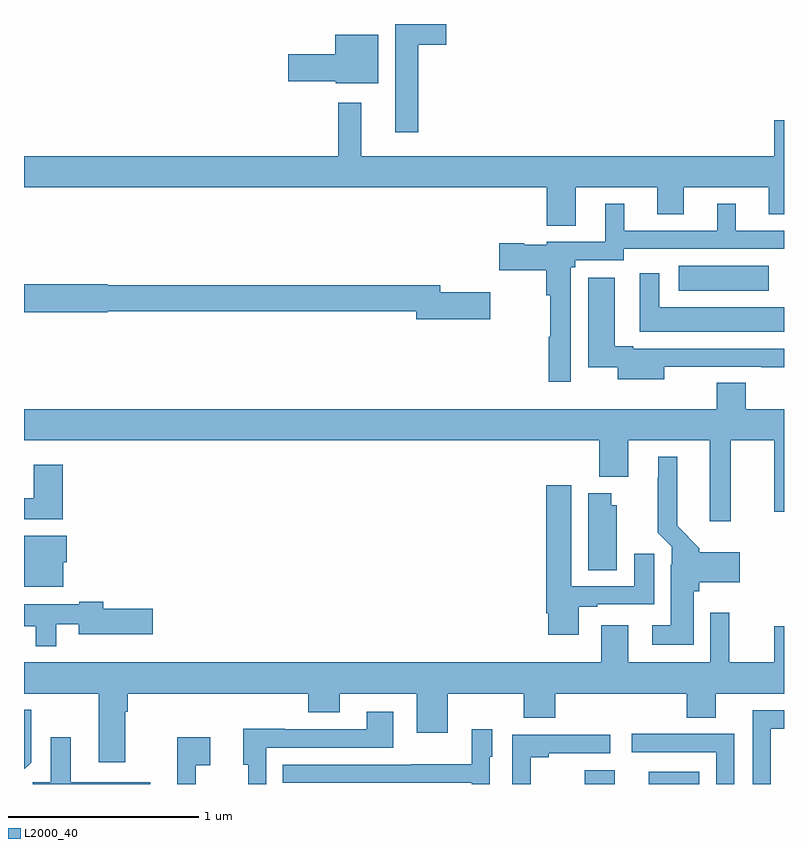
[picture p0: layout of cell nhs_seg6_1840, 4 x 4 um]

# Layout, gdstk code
import gdstk
lib = gdstk.Library(unit=1e-6, precision=1e-09)
def R(c, l, rs):  # rectangles x0, y0, x1, y1
    for r in rs: c.add(gdstk.rectangle(r[:2], r[2:], *l))
def P(c, l, *ps):  # polygons
    for p in ps: c.add(gdstk.Polygon(p, *l))
L2000_40 = (2000, 40)

nhs_seg6_1840 = lib.new_cell('nhs_seg6_1840')
R(nhs_seg6_1840, L2000_40, [(223.952,973.5,224.11,973.573), (224.288,973.5,224.553,973.564), (224.445,976.097,224.92,976.228)])
P(nhs_seg6_1840, L2000_40, [(223.075,977.39),(223.222,977.39),(223.222,977.5),(222.953,977.5),(222.953,976.929),(223.075,976.929)],
  [(222.865,977.443),(222.638,977.443),(222.638,977.342),(222.39,977.342),(222.39,977.2),(222.642,977.2),(222.642,977.189),(222.865,977.189)],
  [(223.903,976.64),(224.333,976.64),(224.333,976.498),(224.473,976.498),(224.473,976.64),(224.921,976.64),(224.921,976.498),(225,976.498),(225,976.993),(224.948,976.993),(224.948,976.804),(222.775,976.804),(222.775,977.086),(222.654,977.086),(222.654,976.804),(221,976.804),(221,976.64),(223.751,976.64),(223.751,976.438),(223.903,976.438)],
  [(223.878,976.221),(223.901,976.221),(223.901,976.257),(224.157,976.257),(224.157,976.317),(225,976.317),(225,976.413),(224.746,976.413),(224.746,976.555),(224.648,976.555),(224.648,976.413),(224.158,976.413),(224.158,976.555),(224.06,976.555),(224.06,976.353),(223.752,976.353),(223.752,976.339),(223.632,976.339),(223.632,976.347),(223.5,976.347),(223.5,976.205),(223.748,976.205),(223.748,976.073),(223.77,976.073),(223.77,975.854),(223.762,975.854),(223.762,975.618),(223.878,975.618)],
  [(225,976.009),(224.344,976.009),(224.344,976.189),(224.24,976.189),(224.24,975.881),(225,975.881)],
  [(224.371,975.696),(224.881,975.696),(224.881,975.694),(225,975.694),(225,975.792),(224.206,975.792),(224.206,975.805),(224.11,975.805),(224.11,976.165),(223.97,976.165),(223.97,975.694),(224.126,975.694),(224.126,975.629),(224.371,975.629)],
  [(223.453,976.088),(223.192,976.088),(223.192,976.124),(221.442,976.124),(221.442,976.13),(221,976.13),(221,975.983),(221.442,975.983),(221.442,975.988),(223.064,975.988),(223.064,975.946),(223.453,975.946)],
  [(224.719,975.308),(224.948,975.308),(224.948,974.934),(225,974.934),(225,975.472),(224.798,975.472),(224.798,975.611),(224.645,975.611),(224.645,975.472),(221,975.472),(221,975.308),(224.027,975.308),(224.027,975.116),(224.179,975.116),(224.179,975.308),(224.609,975.308),(224.609,974.883),(224.719,974.883)],
  [(224.524,974.514),(224.555,974.514),(224.555,974.561),(224.767,974.561),(224.767,974.719),(224.555,974.719),(224.555,974.742),(224.437,974.86),(224.437,975.223),(224.339,975.223),(224.339,975.113),(224.335,975.113),(224.335,974.822),(224.409,974.748),(224.409,974.654),(224.405,974.654),(224.405,974.335),(224.307,974.335),(224.307,974.234),(224.524,974.234)],
  [(221.204,975.181),(221.051,975.181),(221.051,975.004),(221,975.004),(221,974.894),(221.204,974.894)],
  [(223.921,974.433),(224.017,974.433),(224.017,974.445),(224.317,974.445),(224.317,974.713),(224.213,974.713),(224.213,974.541),(223.879,974.541),(223.879,975.073),(223.748,975.073),(223.748,974.398),(223.76,974.398),(223.76,974.286),(223.921,974.286)],
  [(224.119,974.967),(224.092,974.967),(224.092,975.031),(223.97,975.031),(223.97,974.626),(224.119,974.626)],
  [(221.206,974.667),(221.224,974.667),(221.224,974.806),(221,974.806),(221,974.537),(221.206,974.537)],
  [(221.169,974.342),(221.288,974.342),(221.288,974.288),(221.677,974.288),(221.677,974.423),(221.416,974.423),(221.416,974.459),(221.292,974.459),(221.292,974.446),(221,974.446),(221,974.33),(221.061,974.33),(221.061,974.225),(221.169,974.225)],
  [(221.533,973.88),(221.546,973.88),(221.546,973.976),(222.497,973.976),(222.497,973.877),(222.661,973.877),(222.661,973.976),(223.067,973.976),(223.067,973.77),(223.231,973.77),(223.231,973.976),(223.631,973.976),(223.631,973.848),(223.795,973.848),(223.795,973.976),(224.489,973.976),(224.489,973.849),(224.641,973.849),(224.641,973.976),(225,973.976),(225,974.329),(224.948,974.329),(224.948,974.14),(224.712,974.14),(224.712,974.401),(224.613,974.401),(224.613,974.14),(224.179,974.14),(224.179,974.335),(224.039,974.335),(224.039,974.14),(221,974.14),(221,973.976),(221.393,973.976),(221.393,973.614),(221.533,973.614)],
  [(221.037,973.611),(221.037,973.891),(221,973.891),(221,973.58),(221.005,973.58)],
  [(224.931,973.791),(225,973.791),(225,973.887),(224.835,973.887),(224.835,973.5),(224.931,973.5)],
  [(222.276,973.692),(222.943,973.692),(222.943,973.879),(222.803,973.879),(222.803,973.788),(222.373,973.788),(222.373,973.79),(222.155,973.79),(222.155,973.602),(222.18,973.602),(222.18,973.5),(222.276,973.5)],
  [(223.452,973.644),(223.465,973.644),(223.465,973.789),(223.356,973.789),(223.356,973.603),(223.039,973.603),(223.039,973.602),(222.361,973.602),(222.361,973.506),(223.356,973.506),(223.356,973.5),(223.452,973.5)],
  [(224.739,973.764),(224.199,973.764),(224.199,973.668),(224.643,973.668),(224.643,973.5),(224.739,973.5)],
  [(223.667,973.642),(223.762,973.642),(223.762,973.662),(224.086,973.662),(224.086,973.758),(223.569,973.758),(223.569,973.5),(223.667,973.5)],
  [(221.665,973.51),(221.245,973.51),(221.245,973.747),(221.141,973.747),(221.141,973.508),(221.046,973.508),(221.046,973.5),(221.665,973.5)],
  [(221.904,973.598),(221.98,973.598),(221.98,973.747),(221.807,973.747),(221.807,973.5),(221.904,973.5)])

lib.write_gds('nhs_seg6_1840.gds')
